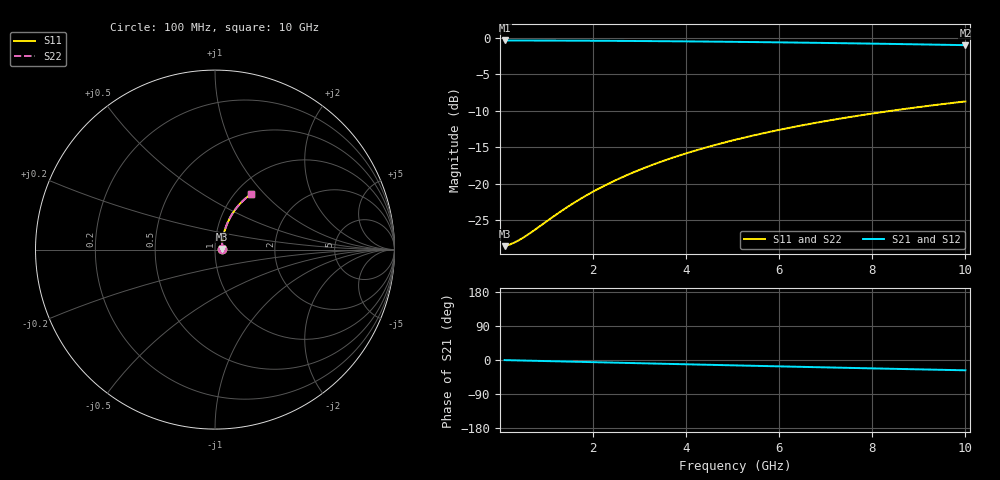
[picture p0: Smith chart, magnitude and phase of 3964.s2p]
# Hz S RI R 50.00
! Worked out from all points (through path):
!   100 points, 100 MHz to 10 GHz, reference 50 ohm
!   highest |S21| = -0.33 dB at 100 MHz (marker M1); lowest = -1.0 dB at 10 GHz (marker M2)
!   group delay of S21, straight-line fit = 7.57 ps
!   lowest |S11| = -28.6 dB at 100 MHz (marker M3), VSWR 1.08, Z = 53.8 + j0.41 ohm
!   |S11| at or under -10 dB: start of sweep to 8.393 GHz
!   |S22| runs from -28.6 to -8.7 dB; largest |S21 - S12| = 0
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1e8  0.0371 0.0038  0.9629 -0.0048  0.9629 -0.0048  0.0371 0.0038
2e8  0.0374 0.0076  0.9626 -0.00959  0.9626 -0.00959  0.0374 0.0076
3e8  0.0376 0.0114  0.9624 -0.0144  0.9624 -0.0144  0.0376 0.0114
5e8  0.0382 0.019  0.9618 -0.0239  0.9618 -0.0239  0.0382 0.019
7e8  0.0388 0.0265  0.9611 -0.0335  0.9611 -0.0335  0.0388 0.0265
1.3e9  0.0415 0.0491  0.9584 -0.062  0.9584 -0.062  0.0415 0.0491
1.6e9  0.0433 0.0603  0.9565 -0.0762  0.9565 -0.0762  0.0433 0.0603
1.8e9  0.0447 0.0677  0.9551 -0.0856  0.9551 -0.0856  0.0447 0.0677
2.2e9  0.0478 0.0825  0.9519 -0.1044  0.9519 -0.1044  0.0478 0.0825
2.6e9  0.0515 0.097  0.9481 -0.1229  0.9481 -0.1229  0.0515 0.097
3e9  0.0558 0.1114  0.9437 -0.1412  0.9437 -0.1412  0.0558 0.1114
3.4e9  0.0606 0.1255  0.9388 -0.1594  0.9388 -0.1594  0.0606 0.1255
3.8e9  0.0659 0.1394  0.9334 -0.1772  0.9334 -0.1772  0.0659 0.1394
4.2e9  0.0717 0.153  0.9274 -0.1948  0.9274 -0.1948  0.0717 0.153
4.6e9  0.078 0.1663  0.9209 -0.2121  0.9209 -0.2121  0.078 0.1663
5.1e9  0.0865 0.1825  0.9122 -0.2333  0.9122 -0.2333  0.0865 0.1825
5.9e9  0.1015 0.2072  0.8967 -0.266  0.8967 -0.266  0.1015 0.2072
6.7e9  0.1182 0.2304  0.8795 -0.2973  0.8795 -0.2973  0.1182 0.2304
7.5e9  0.1363 0.252  0.8608 -0.3269  0.8608 -0.3269  0.1363 0.252
8.4e9  0.158 0.2742  0.8383 -0.3582  0.8383 -0.3582  0.158 0.2742
9.2e9  0.1785 0.2921  0.8171 -0.3842  0.8171 -0.3842  0.1785 0.2921
1e10  0.1997 0.3082  0.7951 -0.4084  0.7951 -0.4084  0.1997 0.3082
